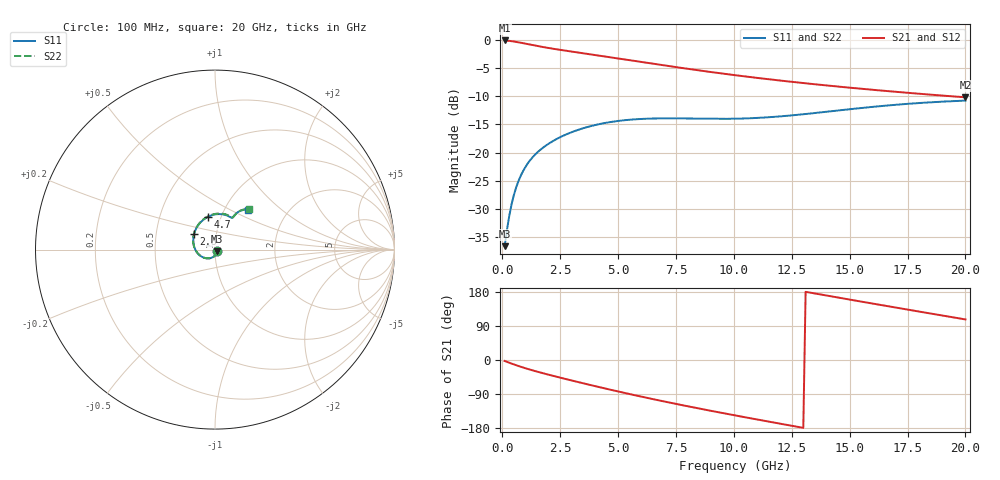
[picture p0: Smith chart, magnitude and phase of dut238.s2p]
! Touchstone file exported from HFSS 2023.1.0
!  File:  D:/Users/fzz/RDL_TSV/temp_RDL_TSV_238_1778759218.aedt
!  Generated:  7:59:20 %x4E0B%x5348  5%x6708 14, 2026
!  Design:  RDL_TSV
!  Project:  temp_RDL_TSV_238_1778759218
!  Setup:  Setup1
!  Solution:  Sweep
! Variables:
!  dtsv = 25.17um
!  hbump = 3um
!  htsv = 61.99um
!  ldown = 304.22um
!  lrdl = 593.15um
!  p = 40
!  p1 = 54.88um
!  rhole = 10um
!  subl = 3285.26um
!  t = 450um
!  tdown = 4.11um
!  trdl = 3.58um
!  viad = 10um
!  wdown = 20.09um
!  wrdl = 28.32um
!  xbump = 18um
# GHz S MA R 50.000000
! Terminal data exported
! Port[1] = TM1_1_T1
! Port[2] = TM1_4_T1
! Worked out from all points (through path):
!   200 points, 100 MHz to 20 GHz, reference 50 ohm
!   highest |S21| = -0.12 dB at 100 MHz (marker M1); lowest = -10.2 dB at 20 GHz (marker M2)
!   group delay of S21, straight-line fit = 33.5 ps
!   lowest |S11| = -36.5 dB at 100 MHz (marker M3), VSWR 1.03, Z = 51.2 - j0.92 ohm
!   |S11| at or under -10 dB: start of sweep to end of sweep
!   |S22| runs from -36.6 to -10.7 dB; largest |S21 - S12| = 2.3e-14
!   S11 on the Smith chart (normalised r, x): 100 MHz: 1.02, -0.02; 2.8 GHz: 0.78, +0.14; 4.7 GHz: 0.87, +0.33; 20 GHz: 1.29, +0.62
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0.1  0.01488 -37.2  0.9862 -2.5  0.9862 -2.5  0.01487 -37.2
! Gamma 0 0 0 0
! Port Impedance 50 0 50 0
0.3  0.02754 -79.7  0.9779 -7.2  0.9779 -7.2  0.02753 -79.8
0.4  0.0349 -92.7  0.9721 -9.4  0.9721 -9.4  0.03489 -92.8
0.6  0.04937 -112.7  0.9578 -13.8  0.9578 -13.8  0.04937 -112.8
0.9  0.06895 -135.6  0.9325 -19.9  0.9325 -19.9  0.06902 -135.8
1.2  0.08567 -154.0  0.9063 -25.5  0.9063 -25.5  0.08585 -154.3
1.6  0.1043 -174.3  0.874 -32.3  0.874 -32.3  0.1047 -174.6
2.1  0.1238 165.2  0.839 -40.4  0.839 -40.4  0.1245 164.8
2.8  0.1464 142.5  0.797 -51.1  0.797 -51.1  0.1477 142.1
3.5  0.1649 124.7  0.7592 -61.6  0.7592 -61.6  0.1668 124.3
4.7  0.1873 101.5  0.6983 -78.9  0.6983 -78.9  0.19 101.2
5.7  0.1973 87.4  0.6504 -92.6  0.6504 -92.6  0.2005 87.1
6.8  0.2013 76.2  0.6014 -107.0  0.6014 -107.0  0.2047 75.8
7.6  0.2013 70.4  0.5688 -117.1  0.5688 -117.1  0.2048 70.0
8.4  0.2003 66.3  0.539 -126.8  0.539 -126.8  0.2038 65.9
10.1  0.2002 62.0  0.4844 -146.7  0.4844 -146.7  0.2034 61.6
11.7  0.2074 61.1  0.4425 -164.7  0.4425 -164.7  0.2104 60.6
13.4  0.2234 60.4  0.4057 176.6  0.4057 176.6  0.2263 60.0
15.1  0.2439 58.6  0.3749 158.4  0.3749 158.4  0.2469 58.4
16.7  0.2626 56.1  0.3502 141.4  0.3502 141.4  0.2659 55.9
18.3  0.278 53.0  0.329 124.7  0.329 124.7  0.2817 52.9
20  0.2892 49.9  0.3095 107.1  0.3095 107.1  0.2934 49.9
